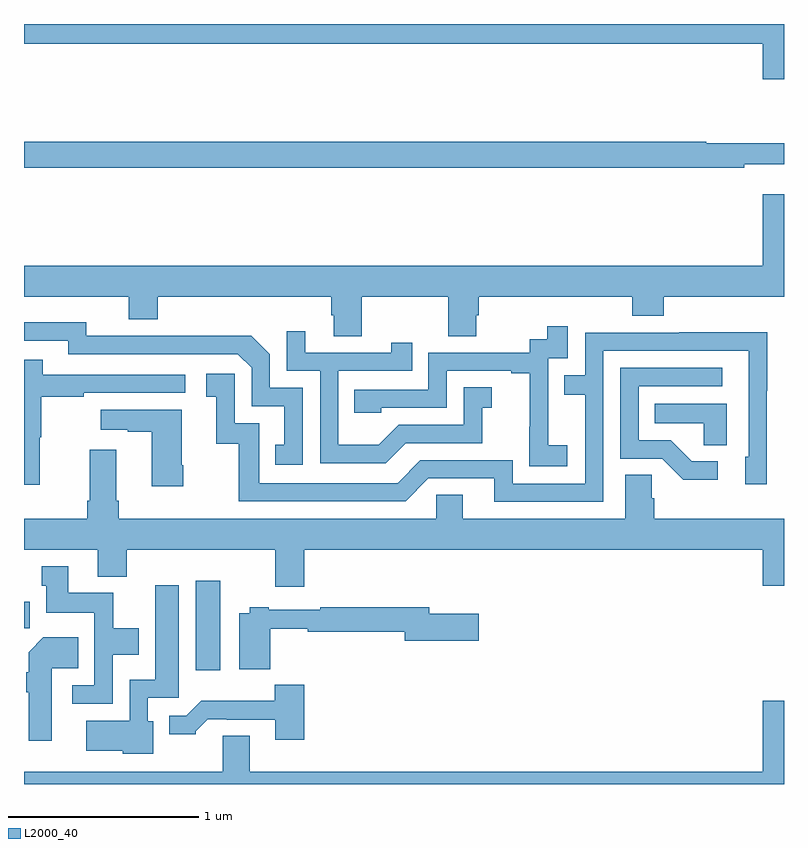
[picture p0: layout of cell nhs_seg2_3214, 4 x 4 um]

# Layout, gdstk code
import gdstk
lib = gdstk.Library(unit=1e-6, precision=1e-09)
def R(c, l, rs):  # rectangles x0, y0, x1, y1
    for r in rs: c.add(gdstk.rectangle(r[:2], r[2:], *l))
def P(c, l, *ps):  # polygons
    for p in ps: c.add(gdstk.Polygon(p, *l))
L2000_40 = (2000, 40)

nhs_seg2_3214 = lib.new_cell('nhs_seg2_3214')
R(nhs_seg2_3214, L2000_40, [(281.903,584.4,282.034,584.869), (281,584.62,281.029,584.758)])
P(nhs_seg2_3214, L2000_40, [(285,587.8),(281,587.8),(281,587.696),(284.888,587.696),(284.888,587.508),(285,587.508)],
  [(284.792,587.063),(285,587.063),(285,587.173),(284.59,587.173),(284.59,587.18),(281,587.18),(281,587.044),(284.792,587.044)],
  [(282.777,586.364),(283.234,586.364),(283.234,586.156),(283.381,586.156),(283.381,586.266),(283.394,586.266),(283.394,586.364),(284.201,586.364),(284.201,586.265),(284.366,586.265),(284.366,586.364),(285,586.364),(285,586.903),(284.888,586.903),(284.888,586.528),(281,586.528),(281,586.364),(281.552,586.364),(281.552,586.247),(281.705,586.247),(281.705,586.364),(282.617,586.364),(282.617,586.266),(282.629,586.266),(282.629,586.156),(282.777,586.156)],
  [(282.468,585.885),(282.294,585.885),(282.294,586.062),(282.196,586.16),(281.788,586.16),(281.788,586.158),(281.328,586.158),(281.328,586.231),(281,586.231),(281,586.134),(281.232,586.134),(281.232,586.062),(282.126,586.062),(282.198,585.99),(282.198,585.789),(282.371,585.789),(282.371,585.585),(282.322,585.585),(282.322,585.48),(282.468,585.48)],
  [(283.858,585.583),(283.76,585.583),(283.76,585.812),(283.758,585.812),(283.758,586.041),(283.863,586.041),(283.863,586.21),(283.755,586.21),(283.755,586.14),(283.662,586.14),(283.662,586.071),(283.128,586.071),(283.128,585.876),(282.739,585.876),(282.739,585.753),(282.879,585.753),(282.879,585.78),(283.224,585.78),(283.224,585.975),(283.565,585.975),(283.565,585.963),(283.661,585.963),(283.661,585.679),(283.66,585.679),(283.66,585.473),(283.858,585.473)],
  [(283.009,585.594),(283.413,585.594),(283.413,585.779),(283.462,585.779),(283.462,585.889),(283.314,585.889),(283.314,585.69),(282.972,585.69),(282.868,585.586),(282.654,585.586),(282.654,585.975),(283.043,585.975),(283.043,586.123),(282.932,586.123),(282.932,586.071),(282.481,586.071),(282.481,586.183),(282.384,586.183),(282.384,585.975),(282.558,585.975),(282.558,585.489),(282.904,585.489)],
  [(284.049,586.08),(284.814,586.08),(284.814,585.522),(284.795,585.522),(284.795,585.378),(284.91,585.378),(284.91,585.871),(284.913,585.871),(284.913,586.178),(284.449,586.178),(284.449,586.176),(283.953,586.176),(283.953,585.951),(283.843,585.951),(283.843,585.85),(283.953,585.85),(283.953,585.381),(283.572,585.381),(283.572,585.504),(283.086,585.504),(282.966,585.384),(282.237,585.384),(282.237,585.699),(282.108,585.699),(282.108,585.958),(281.958,585.958),(281.958,585.837),(282.011,585.837),(282.011,585.591),(282.129,585.591),(282.129,585.288),(283.008,585.288),(283.128,585.408),(283.475,585.408),(283.475,585.285),(284.049,585.285)],
  [(281.084,585.624),(281.092,585.624),(281.092,585.838),(281.315,585.838),(281.315,585.858),(281.848,585.858),(281.848,585.954),(281.099,585.954),(281.099,586.033),(281,586.033),(281,585.375),(281.084,585.375)],
  [(284.65,585.498),(284.515,585.498),(284.404,585.609),(284.235,585.609),(284.235,585.894),(284.674,585.894),(284.674,585.99),(284.139,585.99),(284.139,585.513),(284.358,585.513),(284.471,585.401),(284.65,585.401)],
  [(284.698,585.802),(284.32,585.802),(284.32,585.698),(284.577,585.698),(284.577,585.583),(284.698,585.583)],
  [(281.838,585.478),(281.83,585.478),(281.83,585.769),(281.403,585.769),(281.403,585.665),(281.546,585.665),(281.546,585.655),(281.672,585.655),(281.672,585.366),(281.838,585.366)],
  [(282.476,585.032),(284.888,585.032),(284.888,584.844),(285,584.844),(285,585.196),(284.318,585.196),(284.318,585.305),(284.304,585.305),(284.304,585.428),(284.165,585.428),(284.165,585.196),(283.309,585.196),(283.309,585.323),(283.17,585.323),(283.17,585.196),(281.498,585.196),(281.498,585.292),(281.485,585.292),(281.485,585.559),(281.345,585.559),(281.345,585.292),(281.333,585.292),(281.333,585.196),(281,585.196),(281,585.032),(281.387,585.032),(281.387,584.891),(281.54,584.891),(281.54,585.032),(282.323,585.032),(282.323,584.838),(282.476,584.838)],
  [(281.466,584.48),(281.605,584.48),(281.605,584.62),(281.469,584.62),(281.469,584.806),(281.233,584.806),(281.233,584.947),(281.093,584.947),(281.093,584.844),(281.117,584.844),(281.117,584.702),(281.37,584.702),(281.37,584.319),(281.253,584.319),(281.253,584.223),(281.466,584.223)],
  [(281.68,584.13),(281.652,584.13),(281.652,584.253),(281.815,584.253),(281.815,584.845),(281.69,584.845),(281.69,584.35),(281.556,584.35),(281.556,584.134),(281.328,584.134),(281.328,583.976),(281.52,583.976),(281.52,583.958),(281.68,583.958)],
  [(282.296,584.617),(282.494,584.617),(282.494,584.602),(283.004,584.602),(283.004,584.555),(283.393,584.555),(283.393,584.697),(283.132,584.697),(283.132,584.731),(282.559,584.731),(282.559,584.718),(282.289,584.718),(282.289,584.731),(282.189,584.731),(282.189,584.698),(282.134,584.698),(282.134,584.405),(282.296,584.405)],
  [(281.146,584.408),(281.285,584.408),(281.285,584.572),(281.102,584.572),(281.024,584.494),(281.024,584.387),(281.012,584.387),(281.012,584.284),(281.024,584.284),(281.024,584.028),(281.146,584.028)],
  [(282.476,584.323),(282.321,584.323),(282.321,584.239),(281.932,584.239),(281.853,584.16),(281.765,584.16),(281.765,584.063),(281.904,584.063),(281.904,584.078),(281.968,584.142),(282.067,584.142),(282.067,584.139),(282.323,584.139),(282.323,584.034),(282.476,584.034)],
  [(285,584.239),(284.888,584.239),(284.888,583.864),(282.187,583.864),(282.187,584.054),(282.047,584.054),(282.047,583.864),(281,583.864),(281,583.8),(285,583.8)])

lib.write_gds('nhs_seg2_3214.gds')
